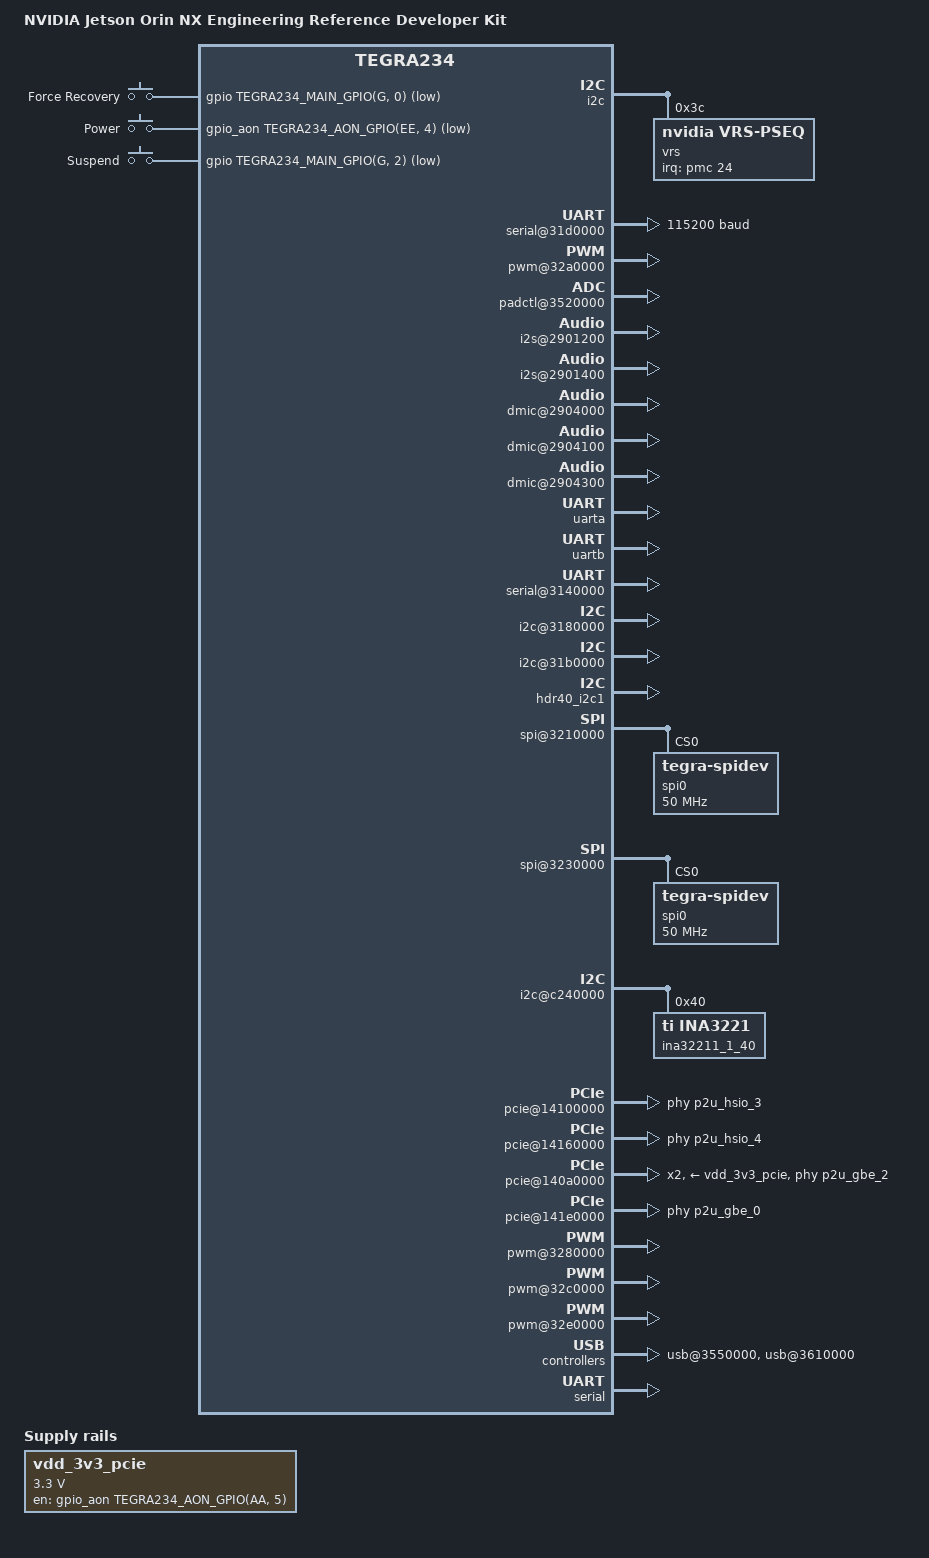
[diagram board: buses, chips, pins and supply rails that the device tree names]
// SPDX-License-Identifier: GPL-2.0
/dts-v1/;

#include <dt-bindings/input/linux-event-codes.h>
#include <dt-bindings/input/gpio-keys.h>

#include "tegra234-p3767.dtsi"
#include "nv-platform/tegra234-p3767-0000.dtsi"

#include "tegra234-p3768-0000.dtsi"
#include "nv-platform/tegra234-p3768-0000.dtsi"
#include "nv-platform/tegra234-p3768-0000+p3767-xxxx-nv-common.dtsi"
#include "nv-soc/tegra234-overlay.dtsi"
#include "nv-soc/tegra234-soc-thermal.dtsi"
#include "nv-soc/tegra234-soc-thermal-slowdown-corepair.dtsi"
#include "nv-soc/tegra234-soc-thermal-shutdown.dtsi"
#include "nv-soc/tegra234-soc-thermal-trip-event.dtsi"
#include "nv-soc/tegra234-soc-audio-dai-links.dtsi"
#include "nv-soc/tegra234-soc-camera.dtsi"
//#include "../cti_common/tegra234-orin-nx-cti-hdmi-fw.dtsi"

/ {
    nvidia,dtbbuildtime = __DATE__, __TIME__;
    compatible = "nvidia,p3768-0000+p3767-0000", "nvidia,p3767-0000", "nvidia,tegra234";
    model = "NVIDIA Jetson Orin NX Engineering Reference Developer Kit";



    chosen {
        stdout-path = "serial0:115200n8";
    };

    bpmp { //node for rtc
        i2c {
            vrs@3c {
                compatible = "nvidia,vrs-pseq";
                reg = <0x3c>;
                interrupt-parent = <&pmc>;
                /* VRS Wake ID is 24 */
                interrupts = <24 IRQ_TYPE_LEVEL_LOW>;
                interrupt-controller;
                #interrupt-cells = <2>;
                status = "okay";
            };
        };
    };

    aliases {
        serial0 = &tcu;
        serial1 = &uarta;
        serial2 = &uartb;
    };

    bus@0 {
        gpu@17000000 {
            status = "okay";
        };

        serial@31d0000 {
            status = "okay";
            current-speed = <115200>;
        };

        pwm@32a0000 {
            assigned-clocks = <&bpmp TEGRA234_CLK_PWM3>;
            assigned-clock-parents = <&bpmp TEGRA234_CLK_PLLP_OUT0>;
            status = "okay";
        };

        hda@3510000 {
            nvidia,model = "NVIDIA Jetson Orin NX HDA";
            status = "okay";
        };

        padctl@3520000 {
            status = "okay";
        };
                actmon@d230000 {
            status = "okay";
        };

        pinmux@2430000 {
            status = "okay";
        };

        aconnect@2900000 {
            ahub@2900800 {
                i2s@2901200 {
                    status = "okay";
                };

                i2s@2901400 {
                    status = "okay";
                };

                dmic@2904000 {
                    status = "okay";
                };

                dmic@2904100 {
                    status = "okay";
                };

                dmic@2904300 {
                    status = "okay";
                };

                dspk@2905000 {
                    status = "okay";
                };

                dspk@2905100 {
                    status = "okay";
                };

                afc@2907000 {
                    status = "okay";
                };

                afc@2907100 {
                    status = "okay";
                };

                afc@2907200 {
                    status = "okay";
                };

                afc@2907300 {
                    status = "okay";
                };

                afc@2907400 {
                    status = "okay";
                };

                afc@2907500 {
                    status = "okay";
                };

                arad@290e400 {
                    status = "okay";
                };
            };
        };

        /* UARTA, 40 pin header, Pin 8(TX), Pin 10(RX) */
        uarta: serial@3100000 {
            compatible = "nvidia,tegra194-hsuart";
            reset-names = "serial";
            status = "okay";
        };

        uartb: serial@3110000 {
            compatible = "nvidia,tegra194-hsuart";
            reset-names = "serial";
            status = "okay";
        };

        /* UARTE, M2.E connector */
        serial@3140000 {
            status = "okay";
        };
       i2c@3180000 {
            status = "okay";
        };

        i2c@31b0000 {
            status = "okay";
        };

        hdr40_i2c1: i2c@c250000 {
            status = "okay";
        };

        /* SPI1, 40pin header, Pin 19(MOSI), Pin 21(MISO), Pin 23(CLK), Pin 24(CS) */
        spi@3210000{
            status = "okay";
            spi0@0 {
                compatible = "tegra-spidev";
                reg = <0x0>;
                spi-max-frequency = <50000000>;
                controller-data {
                    nvidia,enable-hw-based-cs;
                    nvidia,rx-clk-tap-delay = <0x10>;
                    nvidia,tx-clk-tap-delay = <0x0>;
                };
            };

        };

        /* SPI3, 40pin header, Pin 37(MOSI), Pin 22(MISO), Pin 13(CLK), Pin 18(CS) */
        spi@3230000{
            status = "okay";
            spi0@0 {
                compatible = "tegra-spidev";
                reg = <0x0>;
                spi-max-frequency = <50000000>;
                controller-data {
                    nvidia,enable-hw-based-cs;
                    nvidia,rx-clk-tap-delay = <0x10>;
                    nvidia,tx-clk-tap-delay = <0x0>;
                };
            };

        };
        
        spi@3240000{
            compatible = "nvidia,tegra210-spi";
			reg = <0x0 0x03240000 0x0 0x1000>;
            #address-cells = <1>;
			#size-cells = <0>;
            status = "disabled";
        };
        
        spi@3250000{
            compatible = "nvidia,tegra210-spi";
			reg = <0x0 0x03250000 0x0 0x1000>;
            #address-cells = <1>;
			#size-cells = <0>;
            status = "disabled";
        };

        i2c@c240000 {
            status = "okay";
            ina32211_1_40: ina3221@40 {
                compatible = "ti,ina3221";
                reg = <0x40>;
                #address-cells = <1>;
                #size-cells = <0>;
                channel@0 {
                    reg = <0x0>;
                    label = "VDD_IN";
                    shunt-resistor-micro-ohms = <5000>;
                };
                channel@1 {
                    reg = <0x1>;
                    label = "VDD_CPU_GPU_CV";
                    shunt-resistor-micro-ohms = <5000>;
                };
                channel@2 {
                    reg = <0x2>;
                    label = "VDD_SOC";
                    shunt-resistor-micro-ohms = <5000>;
                };
            };
        };
        /* C1 - M.2 Key-E */
        pcie@14100000 {
            status = "okay";

            vddio-pex-ctl-supply = <&vdd_1v8_ao>;

            phys = <&p2u_hsio_3>;
            phy-names = "p2u-0";
        };

        /* C4 - M.2 Key-M */
        pcie@14160000 {
            status = "okay";

            vddio-pex-ctl-supply = <&vdd_1v8_ao>;

            phys = <&p2u_hsio_4>, <&p2u_hsio_5>, <&p2u_hsio_6>,
                   <&p2u_hsio_7>;
            phy-names = "p2u-0", "p2u-1", "p2u-2", "p2u-3";
        };

        pcie-ep@14160000 {/* C4 - End Point */
            phys = <&p2u_hsio_4>, <&p2u_hsio_5>, <&p2u_hsio_6>,
                    <&p2u_hsio_7>;
            phy-names = "p2u-0", "p2u-1", "p2u-2", "p2u-3";
            reset-gpios = <&gpio
                    TEGRA234_MAIN_GPIO(L, 1)
                    GPIO_ACTIVE_LOW>;
            nvidia,refclk-select-gpios = <&gpio_aon
                            TEGRA234_AON_GPIO(AA, 4)
                            GPIO_ACTIVE_HIGH>;
        };

        /* C8 - Ethernet */
        pcie@140a0000 {
            status = "okay";

            num-lanes = <2>;

            phys = <&p2u_gbe_2>, <&p2u_gbe_3>;
            phy-names = "p2u-0", "p2u-1";

            vddio-pex-ctl-supply = <&vdd_1v8_ao>;
            vpcie3v3-supply = <&vdd_3v3_pcie>;
        };

        /* C7 - M.2 Key-M */
        pcie@141e0000 {
            status = "okay";

            vddio-pex-ctl-supply = <&vdd_1v8_ao>;

            phys = <&p2u_gbe_0>, <&p2u_gbe_1>;
            phy-names = "p2u-0", "p2u-1";
        };

        /* PWM1, 40pin header, pin 15 */
        pwm@3280000 {
            status = "okay";
        };

        /* PWM3, FAN */
        pwm@32a0000 {
            status = "okay";
        };

        /* PWM5, 40pin header, pin 33 */
        pwm@32c0000 {
            status = "okay";
        };

        /* PWM7, 40pin header, pin 32 */
        pwm@32e0000 {
            status = "okay";
        };

        tachometer@39c0000 {
            status = "okay";
            upper-threshold = <0xfffff>;
            lower-threshold = <0x0>;
        };

        hsp@3d00000 {
            status = "okay";
        };

        aon@c000000 {
            status = "okay";
        };

        hardware-timestamp@c1e0000 {
            status = "okay";
            nvidia,num-slices = <3>;
        };

        mttcan@c310000 {
            status = "okay";
        };

        hwpm@f100000 {
            status = "okay";
        };

        mc-hwpm@2c10000 {
            status = "okay";
        };
        host1x@13e00000 {
            nvdec@15480000 {
                status = "okay";
            };

            nvenc@154c0000 {
                status = "okay";
            };

            nvdla0@15880000 {
                status = "okay";
            };

            nvdla1@158c0000 {
                status = "okay";
            };

            ofa@15a50000 {
                status = "okay";
            };

            pva0@16000000 {
                status = "okay";

                pva0_niso1_ctx0 {
                    status = "okay";
                };

                pva0_niso1_ctx1 {
                    status = "okay";
                };

                pva0_niso1_ctx2 {
                    status = "okay";
                };

                pva0_niso1_ctx3 {
                    status = "okay";
                };

                pva0_niso1_ctx4 {
                    status = "okay";
                };

                pva0_niso1_ctx5 {
                    status = "okay";
                };

                pva0_niso1_ctx6 {
                    status = "okay";
                };

                pva0_niso1_ctx7 {
                    status = "okay";
                };
            };

            nvjpg@15380000 {
                status = "okay";
            };

            nvjpg@15540000 {
                status = "okay";
            };
        };

    padctl@3520000 {
        status = "okay";
        pads {
            usb2 {
                lanes {
                    usb2-0 {
                        nvidia,function = "xusb";
                        status = "okay";
                    };
                    usb2-1 {
                        nvidia,function = "xusb";
                        status = "okay";
                    };
                    usb2-2 {
                        nvidia,function = "xusb";
                        status = "okay";
                    };
                };
            };
            usb3 {
                lanes {
                    usb3-0 {
                        nvidia,function = "xusb";
                        status = "okay";
                    };
                };
            };
        };

        ports {
            usb2-0 {
                mode = "otg";
                status = "okay";
                usb-role-switch;
                connector {
                    /* NOTE: PN: While the Physical connector is Type-C we are using the
                     * microUSB driver as the HW uses the older OTG_ID/VBUS_DET gpio
                     * for indicating role switchs
                     */
                    compatible = "gpio-usb-b-connector", "usb-b-connector";
                    label = "micro-USB";
                    type = "micro";
                    vbus-gpios = <&gpio TEGRA234_MAIN_GPIO(Z, 1) GPIO_ACTIVE_HIGH>;
                    id-gpios = <&gpio_aon TEGRA234_AON_GPIO(EE, 2) GPIO_ACTIVE_HIGH>;
                };

            };
            usb2-1 {
                mode = "host";
                status = "okay";
            };
            usb2-2 {/* Goes to M2.E */
                mode = "host";
                status = "okay";
            };
            usb3-0 {
                nvidia,usb2-companion = <0>;
                status = "okay";
            };
        };
    };
    usb@3550000 {
        status = "okay";
        phys =  <&{/bus@0/padctl@3520000/pads/usb2/lanes/usb2-0}>,
                <&{/bus@0/padctl@3520000/pads/usb3/lanes/usb3-0}>;
        phy-names = "usb2-0", "usb3-0";
    };

    usb@3610000 {
        status = "okay";
        phys =  <&{/bus@0/padctl@3520000/pads/usb2/lanes/usb2-0}>,
                <&{/bus@0/padctl@3520000/pads/usb2/lanes/usb2-1}>,
                <&{/bus@0/padctl@3520000/pads/usb2/lanes/usb2-2}>,
                <&{/bus@0/padctl@3520000/pads/usb3/lanes/usb3-0}>,
                <&{/bus@0/padctl@3520000/pads/usb3/lanes/usb3-1}>,
                <&{/bus@0/padctl@3520000/pads/usb3/lanes/usb3-2}>;
        phy-names = "usb2-0", "usb2-1", "usb2-2", "usb3-0", "usb3-1", "usb3-2";
    };


    };

    gpio-keys {
        compatible = "gpio-keys";

        key-force-recovery {
            label = "Force Recovery";
            gpios = <&gpio TEGRA234_MAIN_GPIO(G, 0) GPIO_ACTIVE_LOW>;
            linux,input-type = <EV_KEY>;
            linux,code = <BTN_1>;
        };

        key-power {
            label = "Power";
            gpios = <&gpio_aon TEGRA234_AON_GPIO(EE, 4) GPIO_ACTIVE_LOW>;
            linux,input-type = <EV_KEY>;
            linux,code = <KEY_POWER>;
            wakeup-event-action = <EV_ACT_ASSERTED>;
            wakeup-source;
        };

        key-suspend {
            label = "Suspend";
            gpios = <&gpio TEGRA234_MAIN_GPIO(G, 2) GPIO_ACTIVE_LOW>;
            linux,input-type = <EV_KEY>;
            linux,code = <KEY_SLEEP>;
        };
    };

    pwm-fan {
        cooling-levels = <0 88 187 255>;
    };

    vdd_3v3_pcie: regulator-vdd-3v3-pcie {
        compatible = "regulator-fixed";
        regulator-name = "VDD_3V3_PCIE";
        regulator-min-microvolt = <3300000>;
        regulator-max-microvolt = <3300000>;
        gpio = <&gpio_aon TEGRA234_AON_GPIO(AA, 5) GPIO_ACTIVE_HIGH>;
        enable-active-high;
    };
  serial {
        status = "okay";
    };

    thermal-zones {
        tj-thermal {
            cooling-maps {
                map-active-0 {
                    cooling-device = <&fan 0 1>;
                    trip = <&tj_trip_active0>;
                };

                map-active-1 {
                    cooling-device = <&fan 1 2>;
                    trip = <&tj_trip_active1>;
                };

                map-active-2 {
                    cooling-device = <&fan 2 3>;
                    trip = <&tj_trip_active2>;
                };
            };
        };
    };

    cpus {
        idle-states {
            c7 {
                status = "okay";
            };
        };
    };

    nvpmodel {
        status = "okay";
    };

    soctherm-oc-event {
        status = "okay";
    };

    thermal-zones {
        cpu-thermal {
            status = "okay";
        };

        gpu-thermal {
            status = "okay";
        };

        cv0-thermal {
            status = "okay";
        };

        cv1-thermal {
            status = "okay";
        };

        cv2-thermal {
            status = "okay";
        };

        soc0-thermal {
            status = "okay";
        };

        soc1-thermal {
            status = "okay";
        };

        soc2-thermal {
            status = "okay";
        };
    };

    dce@d800000 {
        status = "okay";
    };

    display@13800000 {
        status = "okay";
    };

    tegra-hsp@b950000 {
        status = "okay";
    };

};
